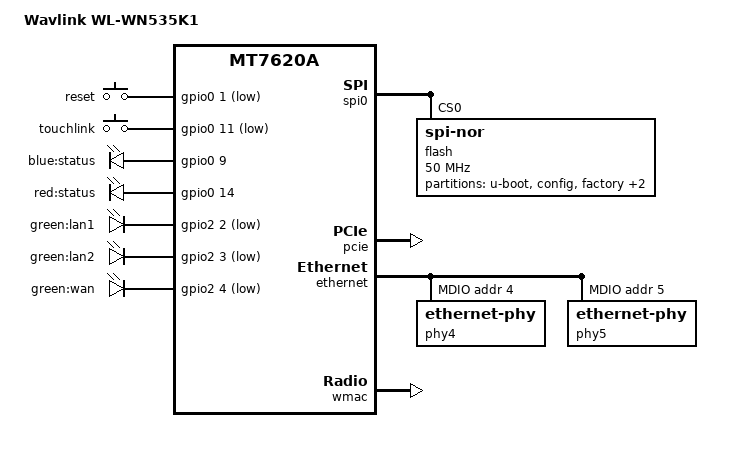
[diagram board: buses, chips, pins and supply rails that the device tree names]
// SPDX-License-Identifier: GPL-2.0-or-later

#include "mt7620a.dtsi"

#include <dt-bindings/gpio/gpio.h>
#include <dt-bindings/input/input.h>

/ {
	compatible = "wavlink,wl-wn535k1", "ralink,mt7620a-soc";
	model = "Wavlink WL-WN535K1";

	aliases {
		label-mac-device = &wifi0;
		led-boot = &led_status_blue;
		led-failsafe = &led_status_red;
		led-running = &led_status_blue;
		led-upgrade = &led_status_red;
	};

	keys {
		compatible = "gpio-keys";

		reset {
			label = "reset";
			gpios = <&gpio0 1 GPIO_ACTIVE_LOW>;
			linux,code = <KEY_RESTART>;
		};

		touchlink {
			label = "touchlink";
			gpios = <&gpio0 11 GPIO_ACTIVE_LOW>;
			linux,code = <KEY_WPS_BUTTON>;
		};
	};

	leds {
		compatible = "gpio-leds";

		led_status_blue: status_blue {
			label = "blue:status";
			gpios = <&gpio0 9 GPIO_ACTIVE_HIGH>;
		};

		led_status_red: status_red {
			label = "red:status";
			gpios = <&gpio0 14 GPIO_ACTIVE_HIGH>;
		};

		lan1 {
			label = "green:lan1";
			gpios = <&gpio2 2 GPIO_ACTIVE_LOW>;
		};

		lan2 {
			label = "green:lan2";
			gpios = <&gpio2 3 GPIO_ACTIVE_LOW>;
		};

		wan {
			label = "green:wan";
			gpios = <&gpio2 4 GPIO_ACTIVE_LOW>;
		};
	};
};

&gpio2 {
	status = "okay";
};

&spi0 {
	status = "okay";

	flash@0 {
		compatible = "jedec,spi-nor";
		reg = <0>;
		spi-max-frequency = <50000000>;

		partitions {
			compatible = "fixed-partitions";
			#address-cells = <1>;
			#size-cells = <1>;

			partition@0 {
				label = "u-boot";
				reg = <0x0 0x30000>;
				read-only;
			};

			partition@30000 {
				label = "config";
				reg = <0x30000 0x10000>;
				read-only;
			};

			factory: partition@40000 {
				label = "factory";
				reg = <0x40000 0x10000>;
				read-only;

				compatible = "nvmem-cells";
				#address-cells = <1>;
				#size-cells = <1>;

				macaddr_factory_28: macaddr@28 {
					reg = <0x28 0x6>;
				};
			};

			partition@50000 {
				compatible = "denx,uimage";
				label = "firmware";
				reg = <0x50000 0x730000>;
			};

			partition@780000 {
				label = "vendor";
				reg = <0x780000 0x80000>;
				read-only;
			};
		};
	};
};

&pcie {
	status = "okay";
};

&pcie0 {
	wifi0: wifi@0,0 {
		reg = <0x0000 0 0 0 0>;
		mediatek,mtd-eeprom = <&factory 0x8000>;
		ieee80211-freq-limit = <5000000 6000000>;
	};
};

&ethernet {
	pinctrl-names = "default";
	pinctrl-0 = <&rgmii1_pins &rgmii2_pins &mdio_pins>;

	nvmem-cells = <&macaddr_factory_28>;
	nvmem-cell-names = "mac-address";

	mediatek,portmap = "llllw";

	port@4 {
		status = "okay";
		phy-handle = <&phy4>;
		phy-mode = "rgmii";
	};

	port@5 {
		status = "okay";
		phy-handle = <&phy5>;
		phy-mode = "rgmii";
	};

	mdio-bus {
		status = "okay";

		phy4: ethernet-phy@4 {
			reg = <4>;
			phy-mode = "rgmii";
		};

		phy5: ethernet-phy@5 {
			reg = <5>;
			phy-mode = "rgmii";
		};
	};
};

&gsw {
	mediatek,port4-gmac;
};

&wmac {
	ralink,mtd-eeprom = <&factory 0x0>;
};

&state_default {
	gpio {
		groups = "ephy", "i2c", "uartf";
		function = "gpio";
	};
};
